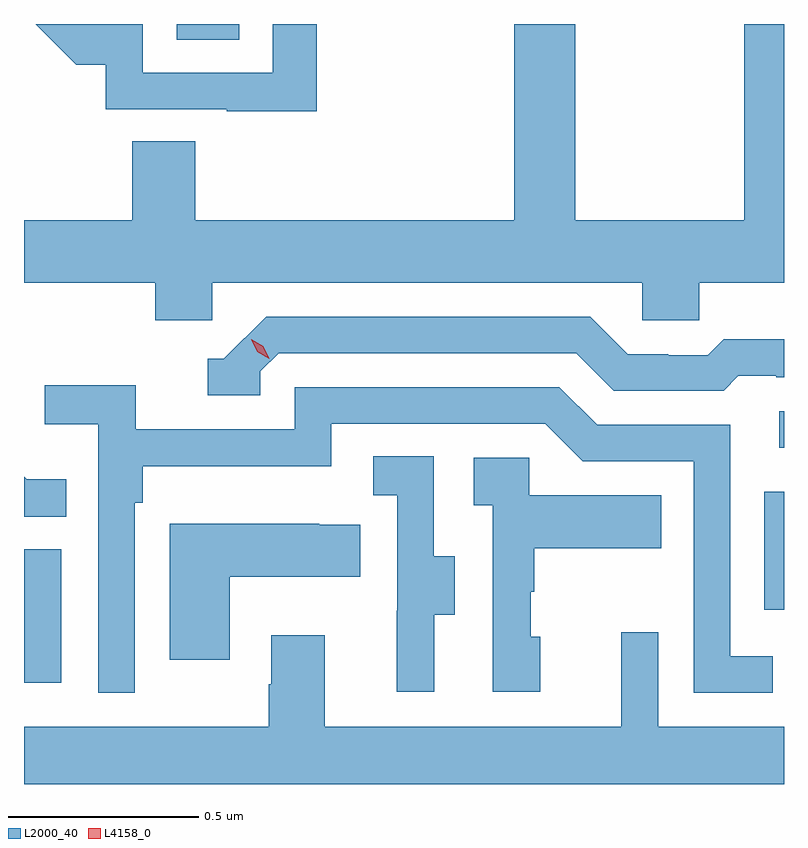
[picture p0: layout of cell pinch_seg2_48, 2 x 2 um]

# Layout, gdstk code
import gdstk
lib = gdstk.Library(unit=1e-6, precision=1e-09)
def R(c, l, rs):  # rectangles x0, y0, x1, y1
    for r in rs: c.add(gdstk.rectangle(r[:2], r[2:], *l))
def P(c, l, *ps):  # polygons
    for p in ps: c.add(gdstk.Polygon(p, *l))
L2000_40 = (2000, 40)
L4158_0 = (4158, 0)

pinch_seg2_48 = lib.new_cell('pinch_seg2_48')
R(pinch_seg2_48, L2000_40, [(1069.61,654.576,1069.708,654.927), (1071.558,654.768,1071.61,655.078), (1071.597,655.194,1071.61,655.29), (1070.012,656.268,1070.176,656.309)])
P(pinch_seg2_48, L2000_40, [(1069.895,656),(1069.895,655.792),(1069.61,655.792),(1069.61,655.628),(1069.955,655.628),(1069.955,655.53),(1070.106,655.53),(1070.106,655.628),(1071.237,655.628),(1071.237,655.53),(1071.387,655.53),(1071.387,655.628),(1071.61,655.628),(1071.61,656.309),(1071.505,656.309),(1071.505,655.792),(1071.06,655.792),(1071.06,656.309),(1070.9,656.309),(1070.9,655.792),(1070.06,655.792),(1070.06,656)],
  [(1070.381,656.309),(1070.265,656.309),(1070.265,656.181),(1069.923,656.181),(1069.923,656.309),(1069.641,656.309),(1069.748,656.202),(1069.825,656.202),(1069.825,656.085),(1070.143,656.085),(1070.143,656.08),(1070.381,656.08)],
  [(1070.232,655.395),(1070.28,655.443),(1071.063,655.443),(1071.162,655.344),(1071.451,655.344),(1071.49,655.383),(1071.589,655.383),(1071.589,655.38),(1071.61,655.38),(1071.61,655.48),(1071.451,655.48),(1071.409,655.437),(1071.306,655.437),(1071.306,655.44),(1071.199,655.44),(1071.1,655.539),(1070.247,655.539),(1070.136,655.428),(1070.093,655.428),(1070.093,655.332),(1070.232,655.332)],
  [(1069.902,655.049),(1069.922,655.049),(1069.922,655.145),(1070.418,655.145),(1070.418,655.257),(1070.982,655.257),(1071.081,655.158),(1071.372,655.158),(1071.372,654.549),(1071.581,654.549),(1071.581,654.645),(1071.468,654.645),(1071.468,655.254),(1071.118,655.254),(1071.019,655.353),(1070.322,655.353),(1070.322,655.242),(1069.904,655.242),(1069.904,655.358),(1069.665,655.358),(1069.665,655.256),(1069.806,655.256),(1069.806,654.549),(1069.902,654.549)],
  [(1070.689,654.754),(1070.743,654.754),(1070.743,654.909),(1070.688,654.909),(1070.688,655.172),(1070.529,655.172),(1070.529,655.069),(1070.592,655.069),(1070.592,654.765),(1070.591,654.765),(1070.591,654.552),(1070.689,654.552)],
  [(1070.968,654.696),(1070.943,654.696),(1070.943,654.815),(1070.953,654.815),(1070.953,654.929),(1071.287,654.929),(1071.287,655.069),(1070.94,655.069),(1070.94,655.167),(1070.793,655.167),(1070.793,655.043),(1070.844,655.043),(1070.844,654.552),(1070.968,654.552)],
  [(1069.721,655.111),(1069.617,655.111),(1069.61,655.118),(1069.61,655.012),(1069.721,655.012)],
  [(1070.152,654.854),(1070.495,654.854),(1070.495,654.991),(1070.387,654.991),(1070.387,654.994),(1069.994,654.994),(1069.994,654.636),(1070.152,654.636)],
  [(1071.61,654.46),(1071.279,654.46),(1071.279,654.709),(1071.182,654.709),(1071.182,654.46),(1070.401,654.46),(1070.401,654.7),(1070.261,654.7),(1070.261,654.572),(1070.254,654.572),(1070.254,654.46),(1069.61,654.46),(1069.61,654.309),(1071.61,654.309)])
P(pinch_seg2_48, L4158_0, [(1070.255,655.428),(1070.224,655.447),(1070.208,655.48),(1070.208,655.48),(1070.208,655.48),(1070.239,655.461),(1070.255,655.429),(1070.255,655.428)])

lib.write_gds('pinch_seg2_48.gds')
